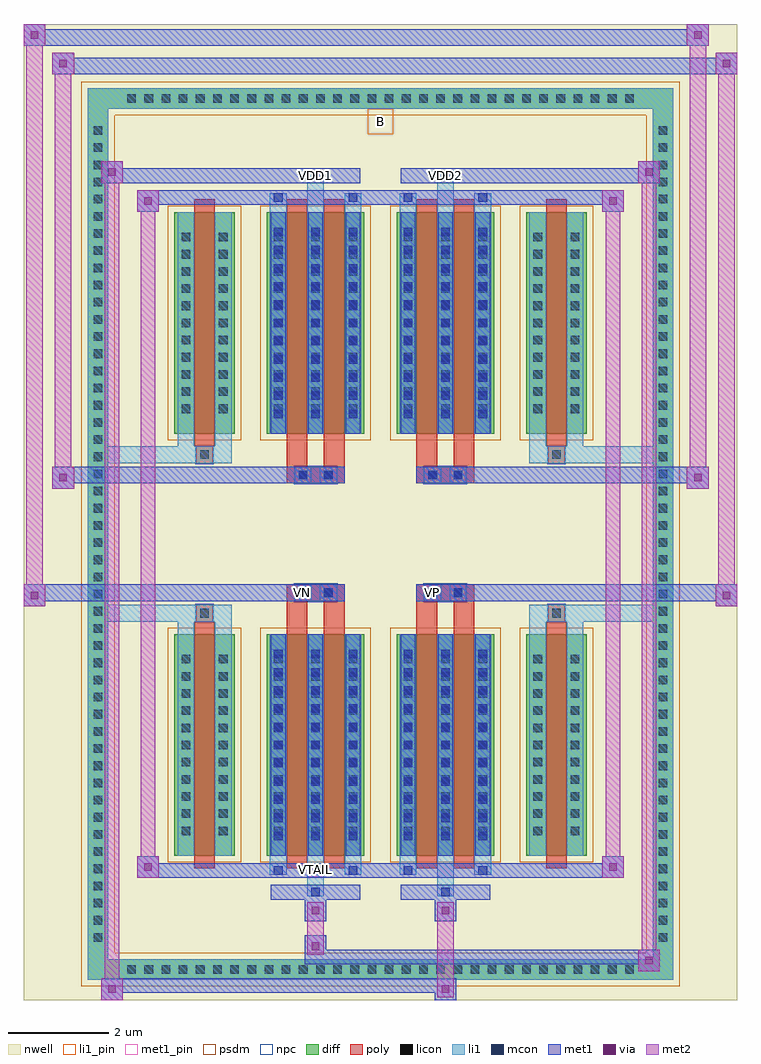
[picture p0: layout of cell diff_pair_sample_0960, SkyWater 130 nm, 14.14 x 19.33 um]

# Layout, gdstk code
import gdstk
lib = gdstk.Library(unit=1e-6, precision=5e-09)
def R(c, l, rs):  # rectangles x0, y0, x1, y1
    for r in rs: c.add(gdstk.rectangle(r[:2], r[2:], *l))
def A(c, l, x, y, w, h, nx, ny, dx, dy):  # array of equal rectangles
    R(c, l, [(x+i*dx, y+j*dy, x+i*dx+w, y+j*dy+h) for i in range(nx) for j in range(ny)])
def P(c, l, *ps):  # polygons
    for p in ps: c.add(gdstk.Polygon(p, *l))
nwell = (64, 20)
diff = (65, 20)
poly = (66, 20)
licon = (66, 44)
li1_pin = (67, 16)
li1 = (67, 20)
mcon = (67, 44)
met1_pin = (68, 16)
met1 = (68, 20)
via = (68, 44)
met2 = (69, 20)
psdm = (94, 20)
npc = (95, 20)

diff_pair_sample_0960 = lib.new_cell('diff_pair_sample_0960')
R(diff_pair_sample_0960, nwell, [(-7.07,-9.23,7.07,10.1), (-4.39,-7.42,-0.01,-0.8), (0.01,-7.42,4.39,-0.8), (-4.39,0.8,-0.01,7.42), (0.01,0.8,4.39,7.42)])
A(diff_pair_sample_0960, diff, -5.135, -8.83, 0.41, 0.41, 30, 2, 0.34, 17.25)
A(diff_pair_sample_0960, diff, -5.8, -8.195, 0.41, 0.41, 1, 48, 0, 0.34)
A(diff_pair_sample_0960, diff, 5.39, -8.195, 0.41, 0.41, 1, 48, 0, 0.34)
R(diff_pair_sample_0960, diff, [(-5.135,-8.83,5.135,-8.42), (-5.8,-8.195,-5.39,8.195), (5.39,-8.195,5.8,8.195), (-4.08,-6.375,-2.89,-1.985), (-2.25,-6.375,-0.32,-1.985), (0.32,-6.375,2.25,-1.985), (2.89,-6.375,4.08,-1.985), (-4.08,1.985,-2.89,6.375), (-2.25,1.985,-0.32,6.375), (0.32,1.985,2.25,6.375), (2.89,1.985,4.08,6.375), (-5.135,8.42,5.135,8.83)])
P(diff_pair_sample_0960, diff, [(5.8,8.83),(-5.8,8.83),(-5.8,-8.42),(-5.39,-8.42),(-5.39,8.42),(5.39,8.42),(5.39,-8.42),(-5.39,-8.42),(-5.8,-8.42),(-5.8,-8.83),(5.8,-8.83)])
R(diff_pair_sample_0960, poly, [(-3.69,-6.625,-3.28,-1.735), (-1.86,-6.625,-1.45,-1.735), (-1.12,-6.625,-0.71,-1.735), (0.71,-6.625,1.12,-1.735), (1.45,-6.625,1.86,-1.735), (3.28,-6.625,3.69,-1.735), (-3.65,-1.735,-3.32,-1.405), (-3.65,-1.735,-3.32,-1.405), (-1.86,-1.735,-1.45,-1.33), (-1.12,-1.735,-0.71,-1.33), (0.71,-1.735,1.12,-1.33), (1.45,-1.735,1.86,-1.33), (3.32,-1.735,3.65,-1.405), (3.32,-1.735,3.65,-1.405), (-1.86,-1.33,-0.71,-1), (-1.7,-1.33,-1.37,-1), (-1.2,-1.33,-0.87,-1), (0.71,-1.33,1.86,-1), (0.87,-1.33,1.2,-1), (1.37,-1.33,1.7,-1), (-1.86,1,-0.71,1.33), (-1.7,1,-1.37,1.33), (-1.2,1,-0.87,1.33), (0.71,1,1.86,1.33), (0.87,1,1.2,1.33), (1.37,1,1.7,1.33), (-1.86,1.33,-1.45,1.735), (-1.12,1.33,-0.71,1.735), (0.71,1.33,1.12,1.735), (1.45,1.33,1.86,1.735), (-3.65,1.405,-3.32,1.735), (-3.65,1.405,-3.32,1.735), (3.32,1.405,3.65,1.735), (3.32,1.405,3.65,1.735), (-3.69,1.735,-3.28,6.625), (-1.86,1.735,-1.45,6.625), (-1.12,1.735,-0.71,6.625), (0.71,1.735,1.12,6.625), (1.45,1.735,1.86,6.625), (3.28,1.735,3.69,6.625)])
A(diff_pair_sample_0960, licon, -5.015, -8.71, 0.17, 0.17, 30, 2, 0.34, 17.25)
A(diff_pair_sample_0960, licon, -5.68, -8.075, 0.17, 0.17, 1, 48, 0, 0.34)
A(diff_pair_sample_0960, licon, 5.51, -8.075, 0.17, 0.17, 1, 48, 0, 0.34)
A(diff_pair_sample_0960, licon, -3.94, -5.965, 0.17, 0.17, 1, 11, 0, 0.34)
A(diff_pair_sample_0960, licon, -3.2, -5.965, 0.17, 0.17, 1, 11, 0, 0.34)
A(diff_pair_sample_0960, licon, -2.11, -5.965, 0.17, 0.17, 3, 11, 0.74, 0.34)
A(diff_pair_sample_0960, licon, 0.46, -5.965, 0.17, 0.17, 3, 11, 0.74, 0.34)
A(diff_pair_sample_0960, licon, 3.03, -5.965, 0.17, 0.17, 1, 11, 0, 0.34)
A(diff_pair_sample_0960, licon, 3.77, -5.965, 0.17, 0.17, 1, 11, 0, 0.34)
A(diff_pair_sample_0960, licon, -3.94, 2.395, 0.17, 0.17, 1, 11, 0, 0.34)
A(diff_pair_sample_0960, licon, -3.2, 2.395, 0.17, 0.17, 1, 11, 0, 0.34)
A(diff_pair_sample_0960, licon, -2.11, 2.395, 0.17, 0.17, 3, 11, 0.74, 0.34)
A(diff_pair_sample_0960, licon, 0.46, 2.395, 0.17, 0.17, 3, 11, 0.74, 0.34)
A(diff_pair_sample_0960, licon, 3.03, 2.395, 0.17, 0.17, 1, 11, 0, 0.34)
A(diff_pair_sample_0960, licon, 3.77, 2.395, 0.17, 0.17, 1, 11, 0, 0.34)
R(diff_pair_sample_0960, licon, [(-3.57,-1.655,-3.4,-1.485), (3.4,-1.655,3.57,-1.485), (-1.62,-1.25,-1.45,-1.08), (-1.12,-1.25,-0.95,-1.08), (0.95,-1.25,1.12,-1.08), (1.45,-1.25,1.62,-1.08), (-1.62,1.08,-1.45,1.25), (-1.12,1.08,-0.95,1.25), (0.95,1.08,1.12,1.25), (1.45,1.08,1.62,1.25), (-3.57,1.485,-3.4,1.655), (3.4,1.485,3.57,1.655)])
R(diff_pair_sample_0960, li1_pin, [(-0.25,7.92,0.25,8.42)])
A(diff_pair_sample_0960, li1, -5.095, -8.79, 0.33, 0.33, 30, 2, 0.34, 17.25)
A(diff_pair_sample_0960, li1, -5.76, -8.155, 0.33, 0.33, 1, 48, 0, 0.34)
A(diff_pair_sample_0960, li1, 5.43, -8.155, 0.33, 0.33, 1, 48, 0, 0.34)
A(diff_pair_sample_0960, li1, -2.19, -6.375, 0.33, 4.39, 3, 2, 0.74, 8.36)
A(diff_pair_sample_0960, li1, 0.38, -6.375, 0.33, 4.39, 3, 2, 0.74, 8.36)
A(diff_pair_sample_0960, li1, -2.11, -6.065, 0.17, 0.17, 3, 11, 0.74, 0.36)
A(diff_pair_sample_0960, li1, -2.11, -6.065, 0.17, 3.77, 3, 2, 0.74, 8.36)
A(diff_pair_sample_0960, li1, 0.46, -6.065, 0.17, 0.17, 3, 11, 0.74, 0.36)
A(diff_pair_sample_0960, li1, 0.46, -6.065, 0.17, 3.77, 3, 2, 0.74, 8.36)
A(diff_pair_sample_0960, li1, -4.02, -6.045, 0.33, 0.33, 1, 11, 0, 0.34)
A(diff_pair_sample_0960, li1, -3.28, -6.045, 0.33, 0.33, 1, 11, 0, 0.34)
A(diff_pair_sample_0960, li1, -2.19, -6.045, 0.33, 0.33, 3, 11, 0.74, 0.34)
A(diff_pair_sample_0960, li1, 0.38, -6.045, 0.33, 0.33, 3, 11, 0.74, 0.34)
A(diff_pair_sample_0960, li1, 2.95, -6.045, 0.33, 0.33, 1, 11, 0, 0.34)
A(diff_pair_sample_0960, li1, 3.69, -6.045, 0.33, 0.33, 1, 11, 0, 0.34)
A(diff_pair_sample_0960, li1, -2.11, 2.295, 0.17, 0.17, 3, 11, 0.74, 0.36)
A(diff_pair_sample_0960, li1, 0.46, 2.295, 0.17, 0.17, 3, 11, 0.74, 0.36)
A(diff_pair_sample_0960, li1, -4.02, 2.315, 0.33, 0.33, 1, 11, 0, 0.34)
A(diff_pair_sample_0960, li1, -3.28, 2.315, 0.33, 0.33, 1, 11, 0, 0.34)
A(diff_pair_sample_0960, li1, -2.19, 2.315, 0.33, 0.33, 3, 11, 0.74, 0.34)
A(diff_pair_sample_0960, li1, 0.38, 2.315, 0.33, 0.33, 3, 11, 0.74, 0.34)
A(diff_pair_sample_0960, li1, 2.95, 2.315, 0.33, 0.33, 1, 11, 0, 0.34)
A(diff_pair_sample_0960, li1, 3.69, 2.315, 0.33, 0.33, 1, 11, 0, 0.34)
R(diff_pair_sample_0960, li1, [(-5.8,-8.83,-5.39,-8.42), (-5.8,-8.83,-5.39,-8.42), (-5.39,-8.83,5.39,-8.42), (5.39,-8.83,5.8,-8.42), (5.39,-8.83,5.8,-8.42), (-5.8,-8.42,-5.39,8.42), (5.39,-8.42,5.8,8.42), (-1.45,-7.18,-1.12,-6.375), (-1.37,-7.18,-1.2,-7.01), (1.12,-7.18,1.45,-6.375), (1.2,-7.18,1.37,-7.01), (-2.19,-6.75,-1.86,-6.375), (-2.11,-6.75,-1.94,-6.58), (-0.71,-6.75,-0.38,-6.375), (-0.63,-6.75,-0.46,-6.58), (0.38,-6.75,0.71,-6.375), (0.46,-6.75,0.63,-6.58), (1.86,-6.75,2.19,-6.375), (1.94,-6.75,2.11,-6.58), (-4.02,-6.375,-3.69,-1.985), (-3.28,-6.375,-2.95,-1.985), (2.95,-6.375,3.28,-1.985), (3.69,-6.375,4.02,-1.985), (-4.02,-1.985,-3.69,-1.405), (-3.28,-1.985,-2.95,-1.405), (2.95,-1.985,3.28,-1.405), (3.69,-1.985,4.02,-1.405), (-5.8,-1.735,-3.65,-1.405), (-4.02,-1.735,-3.65,-1.405), (-3.65,-1.735,-3.32,-1.405), (-3.32,-1.735,-2.95,-1.405), (2.95,-1.735,3.32,-1.405), (3.32,-1.735,3.65,-1.405), (3.32,-1.735,5.8,-1.405), (3.65,-1.735,4.02,-1.405), (-1.7,-1.33,-1.37,-1), (-1.2,-1.33,-0.87,-1), (0.87,-1.33,1.2,-1), (1.37,-1.33,1.7,-1), (-1.7,1,-1.37,1.33), (-1.2,1,-0.87,1.33), (0.87,1,1.2,1.33), (1.37,1,1.7,1.33), (-5.8,1.405,-3.65,1.735), (-4.02,1.405,-3.65,1.735), (-4.02,1.405,-3.69,1.985), (-3.65,1.405,-3.32,1.735), (-3.32,1.405,-2.95,1.735), (-3.28,1.405,-2.95,1.985), (2.95,1.405,3.32,1.735), (2.95,1.405,3.28,1.985), (3.32,1.405,3.65,1.735), (3.32,1.405,5.8,1.735), (3.65,1.405,4.02,1.735), (3.69,1.405,4.02,1.985), (-4.02,1.985,-3.69,6.375), (-3.28,1.985,-2.95,6.375), (2.95,1.985,3.28,6.375), (3.69,1.985,4.02,6.375), (-2.19,6.375,-1.86,6.75), (-1.45,6.375,-1.12,7.18), (-0.71,6.375,-0.38,6.75), (0.38,6.375,0.71,6.75), (1.12,6.375,1.45,7.18), (1.86,6.375,2.19,6.75), (-2.11,6.58,-1.94,6.75), (-0.63,6.58,-0.46,6.75), (0.46,6.58,0.63,6.75), (1.94,6.58,2.11,6.75), (-1.37,7.01,-1.2,7.18), (1.2,7.01,1.37,7.18), (-5.8,8.42,-5.39,8.83), (-5.8,8.42,-5.39,8.83), (-5.39,8.42,5.39,8.83), (5.39,8.42,5.8,8.83), (5.39,8.42,5.8,8.83)])
A(diff_pair_sample_0960, mcon, -2.11, -6.065, 0.17, 0.17, 3, 11, 0.74, 0.36)
A(diff_pair_sample_0960, mcon, 0.46, -6.065, 0.17, 0.17, 3, 11, 0.74, 0.36)
A(diff_pair_sample_0960, mcon, -2.11, 2.295, 0.17, 0.17, 3, 11, 0.74, 0.36)
A(diff_pair_sample_0960, mcon, 0.46, 2.295, 0.17, 0.17, 3, 11, 0.74, 0.36)
R(diff_pair_sample_0960, mcon, [(-1.37,-7.18,-1.2,-7.01), (1.2,-7.18,1.37,-7.01), (-2.11,-6.75,-1.94,-6.58), (-0.63,-6.75,-0.46,-6.58), (0.46,-6.75,0.63,-6.58), (1.94,-6.75,2.11,-6.58), (-1.62,-1.25,-1.45,-1.08), (-1.12,-1.25,-0.95,-1.08), (0.95,-1.25,1.12,-1.08), (1.45,-1.25,1.62,-1.08), (-1.62,1.08,-1.45,1.25), (-1.12,1.08,-0.95,1.25), (0.95,1.08,1.12,1.25), (1.45,1.08,1.62,1.25), (-2.11,6.58,-1.94,6.75), (-0.63,6.58,-0.46,6.75), (0.46,6.58,0.63,6.75), (1.94,6.58,2.11,6.75), (-1.37,7.01,-1.2,7.18), (1.2,7.01,1.37,7.18)])
R(diff_pair_sample_0960, met1_pin, [(-1.42,-6.79,-1.15,-6.52), (-1.67,-1.29,-1.4,-1.02), (0.9,-1.29,1.17,-1.02), (-1.42,6.97,-1.15,7.24), (1.15,6.97,1.42,7.24)])
A(diff_pair_sample_0960, met1, -2.17, -6.375, 0.29, 4.39, 3, 2, 0.74, 8.36)
A(diff_pair_sample_0960, met1, 0.4, -6.375, 0.29, 4.39, 3, 2, 0.74, 8.36)
A(diff_pair_sample_0960, met1, -2.17, -6.125, 0.29, 0.29, 3, 11, 0.74, 0.36)
A(diff_pair_sample_0960, met1, 0.4, -6.125, 0.29, 0.29, 3, 11, 0.74, 0.36)
A(diff_pair_sample_0960, met1, -2.17, 2.235, 0.29, 0.29, 3, 11, 0.74, 0.36)
A(diff_pair_sample_0960, met1, 0.4, 2.235, 0.29, 0.29, 3, 11, 0.74, 0.36)
R(diff_pair_sample_0960, met1, [(-5.53,-9.23,-5.1,-8.8), (1.07,-9.23,1.5,-8.8), (-5.53,-9.09,1.5,-8.8), (5.1,-8.66,5.53,-8.23), (-1.5,-8.52,5.53,-8.23), (-1.5,-8.38,-1.07,-7.95), (-1.5,-7.67,-1.07,-7.24), (1.07,-7.67,1.5,-7.24), (-2.17,-7.24,-0.4,-6.95), (-1.43,-7.24,-1.14,-6.95), (0.4,-7.24,2.17,-6.95), (1.14,-7.24,1.43,-6.95), (-4.82,-6.81,-4.39,-6.38), (-4.82,-6.81,-2.17,-6.52), (-2.17,-6.81,-1.88,-6.52), (-2.17,-6.81,-0.4,-6.52), (-0.69,-6.81,-0.4,-6.52), (-0.4,-6.81,0.4,-6.52), (0.4,-6.81,0.69,-6.52), (0.4,-6.81,2.17,-6.52), (1.88,-6.81,2.17,-6.52), (2.17,-6.81,4.82,-6.52), (4.39,-6.81,4.82,-6.38), (-7.07,-1.43,-6.64,-1), (6.64,-1.43,7.07,-1), (-7.07,-1.33,-0.71,-1), (-1.86,-1.33,-0.71,-1), (0.71,-1.33,1.86,-1), (0.71,-1.33,7.07,-1), (-1.68,-1.31,-1.39,-1.02), (-1.18,-1.31,-0.89,-1.02), (0.89,-1.31,1.18,-1.02), (1.39,-1.31,1.68,-1.02), (-6.5,0.9,-6.07,1.33), (6.07,0.9,6.5,1.33), (-6.5,1,-1.86,1.33), (-1.86,1,-0.71,1.33), (0.71,1,1.86,1.33), (1.86,1,6.5,1.33), (-1.68,1.02,-1.39,1.31), (-1.18,1.02,-0.89,1.31), (0.89,1.02,1.18,1.31), (1.39,1.02,1.68,1.31), (-4.82,6.38,-4.39,6.81), (4.39,6.38,4.82,6.81), (-4.82,6.52,-2.17,6.81), (-2.17,6.52,-1.88,6.81), (-2.17,6.52,-0.4,6.81), (-0.69,6.52,-0.4,6.81), (-0.4,6.52,0.4,6.81), (0.4,6.52,0.69,6.81), (0.4,6.52,2.17,6.81), (1.88,6.52,2.17,6.81), (2.17,6.52,4.82,6.81), (-5.53,6.95,-5.1,7.38), (-5.53,6.95,-2.17,7.24), (-2.17,6.95,-0.4,7.24), (-1.43,6.95,-1.14,7.24), (0.4,6.95,2.17,7.24), (1.14,6.95,1.43,7.24), (2.17,6.95,5.53,7.24), (5.1,6.95,5.53,7.38), (-6.5,9.1,-6.07,9.53), (-6.5,9.1,-4.39,9.43), (-4.39,9.1,4.39,9.43), (4.39,9.1,7.07,9.43), (6.64,9.1,7.07,9.53), (-7.07,9.67,-6.64,10.1), (-7.07,9.67,-4.39,10), (-4.39,9.67,4.39,10), (4.39,9.67,6.5,10), (6.07,9.67,6.5,10.1)])
R(diff_pair_sample_0960, via, [(-5.39,-9.09,-5.24,-8.94), (1.21,-9.09,1.36,-8.94), (5.24,-8.52,5.39,-8.37), (-1.36,-8.24,-1.21,-8.09), (-1.36,-7.53,-1.21,-7.38), (1.21,-7.53,1.36,-7.38), (-4.68,-6.67,-4.53,-6.52), (4.53,-6.67,4.68,-6.52), (-6.93,-1.29,-6.78,-1.14), (6.78,-1.29,6.93,-1.14), (-6.36,1.04,-6.21,1.19), (6.21,1.04,6.36,1.19), (-4.68,6.52,-4.53,6.67), (4.53,6.52,4.68,6.67), (-5.39,7.09,-5.24,7.24), (5.24,7.09,5.39,7.24), (-6.36,9.24,-6.21,9.39), (6.78,9.24,6.93,9.39), (-6.93,9.81,-6.78,9.96), (6.21,9.81,6.36,9.96)])
R(diff_pair_sample_0960, met2, [(-5.53,-9.23,-5.1,-8.8), (-5.46,-9.23,-5.17,7.38), (-5.17,-9.23,-5.1,-8.8), (-5.48,-9.18,-5.15,-8.85), (1.12,-9.18,1.45,-8.85), (1.12,-8.85,1.45,-7.62), (5.1,-8.66,5.53,-8.23), (5.17,-8.66,5.46,7.38), (5.46,-8.66,5.53,-8.23), (5.15,-8.61,5.48,-8.28), (-1.45,-8.33,-1.12,-8), (-1.45,-8,-1.12,-7.62), (-1.45,-7.62,-1.12,-7.29), (1.12,-7.62,1.45,-7.29), (-4.82,-6.81,-4.39,-6.38), (-4.75,-6.81,-4.46,6.81), (-4.46,-6.81,-4.39,-6.38), (4.39,-6.81,4.82,-6.38), (4.46,-6.81,4.75,6.81), (4.75,-6.81,4.82,-6.38), (-4.77,-6.76,-4.44,-6.43), (4.44,-6.76,4.77,-6.43), (-7.07,-1.43,-6.64,-1), (-7.02,-1.43,-6.69,10.1), (-6.69,-1.43,-6.64,-1), (6.64,-1.43,7.07,-1), (6.69,-1.43,7.02,9.53), (7.02,-1.43,7.07,-1), (-7.02,-1.38,-6.69,-1.05), (6.69,-1.38,7.02,-1.05), (-6.5,0.9,-6.07,1.33), (-6.45,0.9,-6.12,9.53), (-6.12,0.9,-6.07,1.33), (6.07,0.9,6.5,1.33), (6.12,0.9,6.45,10.1), (6.45,0.9,6.5,1.33), (-6.45,0.95,-6.12,1.28), (6.12,0.95,6.45,1.28), (-4.82,6.38,-4.39,6.81), (-4.46,6.38,-4.39,6.81), (4.39,6.38,4.82,6.81), (4.75,6.38,4.82,6.81), (-4.77,6.43,-4.44,6.76), (4.44,6.43,4.77,6.76), (-5.53,6.95,-5.1,7.38), (-5.17,6.95,-5.1,7.38), (5.1,6.95,5.53,7.38), (5.46,6.95,5.53,7.38), (-5.48,7,-5.15,7.33), (5.15,7,5.48,7.33), (-6.5,9.1,-6.07,9.53), (-6.12,9.1,-6.07,9.53), (6.64,9.1,7.07,9.53), (7.02,9.1,7.07,9.53), (-6.45,9.15,-6.12,9.48), (6.69,9.15,7.02,9.48), (-7.07,9.67,-6.64,10.1), (-6.69,9.67,-6.64,10.1), (6.07,9.67,6.5,10.1), (6.45,9.67,6.5,10.1), (-7.02,9.72,-6.69,10.05), (6.12,9.72,6.45,10.05)])
R(diff_pair_sample_0960, psdm, [(-4.21,-6.505,-2.76,-1.855), (-2.38,-6.505,-0.19,-1.855), (0.19,-6.505,2.38,-1.855), (2.76,-6.505,4.21,-1.855), (-4.21,1.855,-2.76,6.505), (-2.38,1.855,-0.19,6.505), (0.19,1.855,2.38,6.505), (2.76,1.855,4.21,6.505)])
P(diff_pair_sample_0960, psdm, [(5.93,8.96),(-5.93,8.96),(-5.93,-8.29),(-5.26,-8.29),(-5.26,8.29),(5.26,8.29),(5.26,-8.29),(-5.26,-8.29),(-5.93,-8.29),(-5.93,-8.96),(5.93,-8.96)])
R(diff_pair_sample_0960, npc, [(-3.67,-1.755,-3.3,-1.385), (3.3,-1.755,3.67,-1.385), (-1.72,-1.35,-1.35,-0.98), (-1.72,-1.35,-0.85,-0.98), (-1.72,-1.35,-0.85,-0.98), (-1.22,-1.35,-0.85,-0.98), (0.85,-1.35,1.22,-0.98), (0.85,-1.35,1.72,-0.98), (0.85,-1.35,1.72,-0.98), (1.35,-1.35,1.72,-0.98), (-1.72,0.98,-1.35,1.35), (-1.72,0.98,-0.85,1.35), (-1.72,0.98,-0.85,1.35), (-1.22,0.98,-0.85,1.35), (0.85,0.98,1.22,1.35), (0.85,0.98,1.72,1.35), (0.85,0.98,1.72,1.35), (1.35,0.98,1.72,1.35), (-3.67,1.385,-3.3,1.755), (3.3,1.385,3.67,1.755)])
diff_pair_sample_0960.add(gdstk.Label('VTAIL', (-1.285,-6.655), layer=68, texttype=5))
diff_pair_sample_0960.add(gdstk.Label('VN', (-1.535,-1.155), layer=68, texttype=5))
diff_pair_sample_0960.add(gdstk.Label('VP', (1.035,-1.155), layer=68, texttype=5))
diff_pair_sample_0960.add(gdstk.Label('B', (0,8.17), layer=67, texttype=5))
diff_pair_sample_0960.add(gdstk.Label('VDD2', (1.285,7.105), layer=68, texttype=5))
diff_pair_sample_0960.add(gdstk.Label('VDD1', (-1.285,7.105), layer=68, texttype=5))

lib.write_gds('diff_pair_sample_0960.gds')
